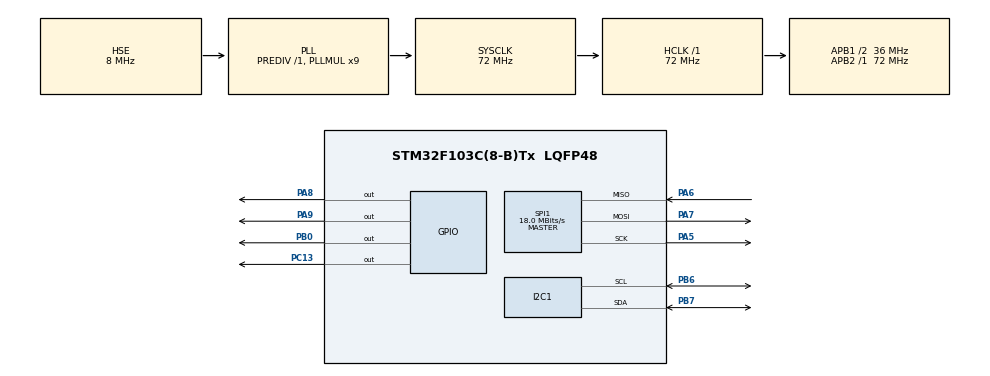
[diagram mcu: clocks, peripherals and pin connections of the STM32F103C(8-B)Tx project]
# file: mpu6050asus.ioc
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Mcu.Family=STM32F1
RCC.PLLSourceVirtual=RCC_PLLSOURCE_HSE
PA6.Mode=Full_Duplex_Master
PA7.Mode=Full_Duplex_Master
PD1-OSC_OUT.Mode=HSE-External-Oscillator
SPI1.VirtualType=VM_MASTER
PC13-TAMPER-RTC.Signal=GPIO_Output
NVIC.TIM1_UP_IRQn=true\:0\:0\:false\:false\:true\:false\:true
PD0-OSC_IN.Signal=RCC_OSC_IN
RCC.APB1CLKDivider=RCC_HCLK_DIV2
RCC.SYSCLKSource=RCC_SYSCLKSOURCE_PLLCLK
ProjectManager.StackSize=0x400
PD1-OSC_OUT.Signal=RCC_OSC_OUT
PA13.Signal=SYS_JTMS-SWDIO
ProjectManager.TargetToolchain=STM32CubeIDE
SPI1.Direction=SPI_DIRECTION_2LINES
RCC.HCLKFreq_Value=72000000
RCC.APB2TimFreq_Value=72000000
PA9.Signal=GPIO_Output
PB6.Signal=I2C1_SCL
PB6.Mode=I2C
SPI1.CalculateBaudRate=18.0 MBits/s
RCC.USBFreq_Value=72000000
RCC.AHBFreq_Value=72000000
PD0-OSC_IN.Mode=HSE-External-Oscillator
PA5.Signal=SPI1_SCK
board=custom
RCC.PLLMUL=RCC_PLL_MUL9
RCC.APB2Freq_Value=72000000
SPI1.Mode=SPI_MODE_MASTER
PA14.Mode=Serial_Wire
VP_SYS_VS_tim1.Mode=TIM1
PB7.Signal=I2C1_SDA
PA8.Signal=GPIO_Output
PA13.Mode=Serial_Wire
Mcu.Name=STM32F103C(8-B)Tx
RCC.SYSCLKFreq_VALUE=72000000
Mcu.Package=LQFP48
PA6.Signal=SPI1_MISO
NVIC.TimeBase=TIM1_UP_IRQn
PB7.Mode=I2C
NVIC.TimeBaseIP=TIM1
PA14.Signal=SYS_JTCK-SWCLK
ProjectManager.HeapSize=0x200
NVIC.PriorityGroup=NVIC_PRIORITYGROUP_4
RCC.APB1TimFreq_Value=72000000
RCC.APB1Freq_Value=36000000
SPI1.BaudRatePrescaler=SPI_BAUDRATEPRESCALER_4
PB0.Signal=GPIO_Output
PA5.Mode=Full_Duplex_Master
PA7.Signal=SPI1_MOSI

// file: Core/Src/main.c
/* USER CODE BEGIN Header */
/**
  ******************************************************************************
  * @file           : main.c
  * @brief          : Main program body
  ******************************************************************************
  * @attention
  *
  * <h2><center>&copy; Copyright (c) 2021 STMicroelectronics.
  * All rights reserved.</center></h2>
  *
  * This software component is licensed by ST under BSD 3-Clause license,
  * the "License"; You may not use this file except in compliance with the
  * License. You may obtain a copy of the License at:
  *                        opensource.org/licenses/BSD-3-Clause
  *
  ******************************************************************************
  */
/* USER CODE END Header */
#include "main.h"

/* USER CODE BEGIN Includes */
#include "sd_hal_mpu6050.h"
#include "ST7735.h"
#include "fonts.h"
/* USER CODE END Includes */

/* USER CODE BEGIN PD */
#define STT7735_CENTER_OFFSET 60
/* USER CODE END PD */

I2C_HandleTypeDef hi2c1;

SPI_HandleTypeDef hspi1;

/* USER CODE BEGIN PV */
float RADIANS_TO_DEGREES = 180/3.14159;
float FS_SEL = 131;
/* USER CODE END PV */

void SystemClock_Config(void);
static void MX_GPIO_Init(void);
static void MX_I2C1_Init(void);
static void MX_SPI1_Init(void);
/* USER CODE BEGIN PFP */
SD_MPU6050 mpu1;

float    base_x_accel;
float    base_y_accel;
float    base_z_accel;

float    base_x_gyro;
float    base_y_gyro;
float    base_z_gyro;

unsigned long last_read_time;
float         last_x_angle;  // These are the filtered angles
float         last_y_angle;
float         last_z_angle;
float         last_gyro_x_angle;  // Store the gyro angles to compare drift
float         last_gyro_y_angle;
float         last_gyro_z_angle;
/* USER CODE END PFP */

/* USER CODE BEGIN 0 */
void calibrate_sensors() {
  int                   num_readings = 10;
  float                 x_accel = 0;
  float                 y_accel = 0;
  float                 z_accel = 0;
  float                 x_gyro = 0;
  float                 y_gyro = 0;
  float                 z_gyro = 0;

  //Serial.println("Starting Calibration");

  // Discard the first set of values read from the IMU
  SD_MPU6050_ReadGyroscope(&hi2c1,&mpu1);
  SD_MPU6050_ReadAccelerometer(&hi2c1,&mpu1);

  // Read and average the raw values from the IMU
  for (int i = 0; i < num_readings; i++) {
	  SD_MPU6050_ReadGyroscope(&hi2c1,&mpu1);
	  SD_MPU6050_ReadAccelerometer(&hi2c1,&mpu1);

    x_accel += mpu1.Accelerometer_X;
    y_accel += mpu1.Accelerometer_Y;
    z_accel += mpu1.Accelerometer_Z;
    x_gyro += mpu1.Gyroscope_X;
    y_gyro += mpu1.Gyroscope_Y;
    z_gyro += mpu1.Gyroscope_Z;
    HAL_Delay(100);
  }
  x_accel /= num_readings;
  y_accel /= num_readings;
  z_accel /= num_readings;
  x_gyro /= num_readings;
  y_gyro /= num_readings;
  z_gyro /= num_readings;

  // Store the raw calibration values globally
  base_x_accel = x_accel;
  base_y_accel = y_accel;
  base_z_accel = z_accel;
  base_x_gyro = x_gyro;
  base_y_gyro = y_gyro;
  base_z_gyro = z_gyro;
}

void set_last_read_angle_data(uint32_t time, float x, float y, float z, float x_gyro, float y_gyro, float z_gyro) {
  last_read_time = time;
  last_x_angle = x;
  last_y_angle = y;
  last_z_angle = z;
  last_gyro_x_angle = x_gyro;
  last_gyro_y_angle = y_gyro;
  last_gyro_z_angle = z_gyro;
}

unsigned long get_last_time() {return last_read_time;}
float get_last_x_angle() {return last_x_angle;}
float get_last_y_angle() {return last_y_angle;}
float get_last_z_angle() {return last_z_angle;}
float get_last_gyro_x_angle() {return last_gyro_x_angle;}
float get_last_gyro_y_angle() {return last_gyro_y_angle;}
float get_last_gyro_z_angle() {return last_gyro_z_angle;}

void st7735WriteDescriptions(){
	ST7735_WriteString(0, 10, "gyro", Font_7x10, WHITE, BLACK);
	ST7735_WriteString(0, 60, "accel", Font_7x10, WHITE, BLACK);
	ST7735_WriteString(0, 110, "filter", Font_7x10, WHITE, BLACK);
}

/* USER CODE END 0 */

int main(void)
{

  /* MCU Configuration--------------------------------------------------------*/

  /* Reset of all peripherals, Initializes the Flash interface and the Systick. */
  HAL_Init();

  /* Configure the system clock */
  SystemClock_Config();

  /* Initialize all configured peripherals */
  MX_GPIO_Init();
  MX_I2C1_Init();
  MX_SPI1_Init();
  /* USER CODE BEGIN 2 */

  ST7735_Init(0);
//   ST7735_FillRectangle(0, 0, ST7735_WIDTH, ST7735_HEIGHT, BLACK);
  st7735WriteDescriptions();

   SD_MPU6050_Result result ;

   result = SD_MPU6050_Init(&hi2c1,&mpu1,SD_MPU6050_Device_0,SD_MPU6050_Accelerometer_2G,SD_MPU6050_Gyroscope_250s );

   if(result == SD_MPU6050_Result_Ok)
   {
 	  HAL_GPIO_TogglePin(GPIOC, GPIO_PIN_13);
 	  HAL_Delay(200);
 	  HAL_GPIO_TogglePin(GPIOC, GPIO_PIN_13);
 	  HAL_Delay(100);
 	  HAL_GPIO_TogglePin(GPIOC, GPIO_PIN_13);
 	  HAL_Delay(200);
 	  HAL_GPIO_TogglePin(GPIOC, GPIO_PIN_13);
 	  HAL_Delay(100);
   }

   set_last_read_angle_data(HAL_GetTick(), 0, 0, 0, 0, 0, 0);
   calibrate_sensors();

   unsigned long t_now = 0;
   uint8_t strDisplayData[3];

   uint8_t stroldaccx[3], stroldaccy[3], strOldFilteredAngle[3];
   int8_t accel = 0;
  /* USER CODE END 2 */

  /* Infinite loop */
   while (1)
   {

    /* USER CODE BEGIN 3 */
	  SD_MPU6050_Result result = SD_MPU6050_ReadAll(&hi2c1, &mpu1);
	  if(result == SD_MPU6050_Result_Ok)
	  {
		  t_now = HAL_GetTick();
		  float dt =(t_now - get_last_time())/1000.0;

		  HAL_GPIO_TogglePin(GPIOC, GPIO_PIN_13);

		  float gyro_x = (mpu1.Gyroscope_X - base_x_gyro)/FS_SEL;
//		  float gyro_y = (mpu1.Gyroscope_Y - base_y_gyro)/FS_SEL;
//		  float gyro_z = (mpu1.Gyroscope_Z - base_z_gyro)/FS_SEL;

		  float accel_x = mpu1.Accelerometer_X;
		  float accel_y = mpu1.Accelerometer_Y;
		  float accel_z = mpu1.Accelerometer_Z;

		  float accel_angle_y = atan(-1*accel_x/sqrt(pow(accel_y,2) + pow(accel_z,2)))*RADIANS_TO_DEGREES;
		  float accel_angle_x = atan(accel_y/sqrt(pow(accel_x,2) + pow(accel_z,2)))*RADIANS_TO_DEGREES;

		  //filtered angle X
//			==========================
		  float gyro_angle_x = gyro_x*dt + get_last_x_angle();

		  float alpha = 0.917;
		  float filtered_angle_x = alpha*gyro_angle_x + (1.0 - alpha)*accel_angle_x;

//		  ============================

//		  ========== 1 ===========
//		  accel = filtered_angle_x;
		  accel = gyro_angle_x;
		  itoa(accel, strDisplayData, 10);

		  ST7735_WriteString(STT7735_CENTER_OFFSET, 10, stroldaccx, Font_16x26, BLACK, BLACK); // clear old string
		  ST7735_WriteString(STT7735_CENTER_OFFSET, 10, strDisplayData, Font_16x26, WHITE, BLACK);
		  strcpy(stroldaccx, strDisplayData);

//		  ========== 2 ============
//		  accel = accel_angle_y;
		  accel = accel_angle_x;
		  itoa(accel, strDisplayData, 10);

		  ST7735_WriteString(STT7735_CENTER_OFFSET, 60, stroldaccy, Font_16x26, BLACK, BLACK);
		  ST7735_WriteString(STT7735_CENTER_OFFSET, 60, strDisplayData, Font_16x26, WHITE, BLACK);
		  strcpy(stroldaccy, strDisplayData);

//		  ========== 3 =============
		  accel = filtered_angle_x;
		  itoa(accel, strDisplayData, 10);

		  ST7735_WriteString(STT7735_CENTER_OFFSET, 110, strOldFilteredAngle, Font_16x26, BLACK, BLACK);
		  ST7735_WriteString(STT7735_CENTER_OFFSET, 110, strDisplayData, Font_16x26, WHITE, BLACK);
		  strcpy(strOldFilteredAngle, strDisplayData);

//		  ==========================

		  set_last_read_angle_data(t_now, filtered_angle_x, 0, 0, 0, 0, 0);

		  HAL_Delay(40);
	  }

  }
  /* USER CODE END 3 */
}

void SystemClock_Config(void)
{
  RCC_OscInitTypeDef RCC_OscInitStruct = {0};
  RCC_ClkInitTypeDef RCC_ClkInitStruct = {0};

  /** Initializes the RCC Oscillators according to the specified parameters
  * in the RCC_OscInitTypeDef structure.
  */
  RCC_OscInitStruct.OscillatorType = RCC_OSCILLATORTYPE_HSE;
  RCC_OscInitStruct.HSEState = RCC_HSE_ON;
  RCC_OscInitStruct.HSEPredivValue = RCC_HSE_PREDIV_DIV1;
  RCC_OscInitStruct.HSIState = RCC_HSI_ON;
  RCC_OscInitStruct.PLL.PLLState = RCC_PLL_ON;
  RCC_OscInitStruct.PLL.PLLSource = RCC_PLLSOURCE_HSE;
  RCC_OscInitStruct.PLL.PLLMUL = RCC_PLL_MUL9;
  if (HAL_RCC_OscConfig(&RCC_OscInitStruct) != HAL_OK)
  {
    Error_Handler();
  }
  /** Initializes the CPU, AHB and APB buses clocks
  */
  RCC_ClkInitStruct.ClockType = RCC_CLOCKTYPE_HCLK|RCC_CLOCKTYPE_SYSCLK
                              |RCC_CLOCKTYPE_PCLK1|RCC_CLOCKTYPE_PCLK2;
  RCC_ClkInitStruct.SYSCLKSource = RCC_SYSCLKSOURCE_PLLCLK;
  RCC_ClkInitStruct.AHBCLKDivider = RCC_SYSCLK_DIV1;
  RCC_ClkInitStruct.APB1CLKDivider = RCC_HCLK_DIV2;
  RCC_ClkInitStruct.APB2CLKDivider = RCC_HCLK_DIV1;

  if (HAL_RCC_ClockConfig(&RCC_ClkInitStruct, FLASH_LATENCY_2) != HAL_OK)
  {
    Error_Handler();
  }
}

static void MX_I2C1_Init(void)
{

  hi2c1.Instance = I2C1;
  hi2c1.Init.ClockSpeed = 100000;
  hi2c1.Init.DutyCycle = I2C_DUTYCYCLE_2;
  hi2c1.Init.OwnAddress1 = 0;
  hi2c1.Init.AddressingMode = I2C_ADDRESSINGMODE_7BIT;
  hi2c1.Init.DualAddressMode = I2C_DUALADDRESS_DISABLE;
  hi2c1.Init.OwnAddress2 = 0;
  hi2c1.Init.GeneralCallMode = I2C_GENERALCALL_DISABLE;
  hi2c1.Init.NoStretchMode = I2C_NOSTRETCH_DISABLE;
  if (HAL_I2C_Init(&hi2c1) != HAL_OK)
  {
    Error_Handler();
  }

}

static void MX_SPI1_Init(void)
{

  /* SPI1 parameter configuration*/
  hspi1.Instance = SPI1;
  hspi1.Init.Mode = SPI_MODE_MASTER;
  hspi1.Init.Direction = SPI_DIRECTION_2LINES;
  hspi1.Init.DataSize = SPI_DATASIZE_8BIT;
  hspi1.Init.CLKPolarity = SPI_POLARITY_LOW;
  hspi1.Init.CLKPhase = SPI_PHASE_1EDGE;
  hspi1.Init.NSS = SPI_NSS_SOFT;
  hspi1.Init.BaudRatePrescaler = SPI_BAUDRATEPRESCALER_4;
  hspi1.Init.FirstBit = SPI_FIRSTBIT_MSB;
  hspi1.Init.TIMode = SPI_TIMODE_DISABLE;
  hspi1.Init.CRCCalculation = SPI_CRCCALCULATION_DISABLE;
  hspi1.Init.CRCPolynomial = 10;
  if (HAL_SPI_Init(&hspi1) != HAL_OK)
  {
    Error_Handler();
  }

}

static void MX_GPIO_Init(void)
{
  GPIO_InitTypeDef GPIO_InitStruct = {0};

  /* GPIO Ports Clock Enable */
  __HAL_RCC_GPIOC_CLK_ENABLE();
  __HAL_RCC_GPIOD_CLK_ENABLE();
  __HAL_RCC_GPIOA_CLK_ENABLE();
  __HAL_RCC_GPIOB_CLK_ENABLE();

  /*Configure GPIO pin Output Level */
  HAL_GPIO_WritePin(GPIOC, GPIO_PIN_13, GPIO_PIN_RESET);

  /*Configure GPIO pin Output Level */
  HAL_GPIO_WritePin(GPIOB, GPIO_PIN_0, GPIO_PIN_RESET);

  /*Configure GPIO pin Output Level */
  HAL_GPIO_WritePin(GPIOA, GPIO_PIN_8|GPIO_PIN_9, GPIO_PIN_RESET);

  /*Configure GPIO pin : PC13 */
  GPIO_InitStruct.Pin = GPIO_PIN_13;
  GPIO_InitStruct.Mode = GPIO_MODE_OUTPUT_PP;
  GPIO_InitStruct.Pull = GPIO_NOPULL;
  GPIO_InitStruct.Speed = GPIO_SPEED_FREQ_LOW;
  HAL_GPIO_Init(GPIOC, &GPIO_InitStruct);

  /*Configure GPIO pin : PB0 */
  GPIO_InitStruct.Pin = GPIO_PIN_0;
  GPIO_InitStruct.Mode = GPIO_MODE_OUTPUT_PP;
  GPIO_InitStruct.Pull = GPIO_NOPULL;
  GPIO_InitStruct.Speed = GPIO_SPEED_FREQ_LOW;
  HAL_GPIO_Init(GPIOB, &GPIO_InitStruct);

  /*Configure GPIO pins : PA8 PA9 */
  GPIO_InitStruct.Pin = GPIO_PIN_8|GPIO_PIN_9;
  GPIO_InitStruct.Mode = GPIO_MODE_OUTPUT_PP;
  GPIO_InitStruct.Pull = GPIO_NOPULL;
  GPIO_InitStruct.Speed = GPIO_SPEED_FREQ_LOW;
  HAL_GPIO_Init(GPIOA, &GPIO_InitStruct);

}

 /**
  * @brief  Period elapsed callback in non blocking mode
  * @note   This function is called  when TIM1 interrupt took place, inside
  * HAL_TIM_IRQHandler(). It makes a direct call to HAL_IncTick() to increment
  * a global variable "uwTick" used as application time base.
  * @param  htim : TIM handle
  * @retval None
  */
void HAL_TIM_PeriodElapsedCallback(TIM_HandleTypeDef *htim)
{
  if (htim->Instance == TIM1) {
    HAL_IncTick();
  }
}

void Error_Handler(void)
{
  __disable_irq();
  while (1)
  {
  }
}

/************************ (C) COPYRIGHT STMicroelectronics *****END OF FILE****/
